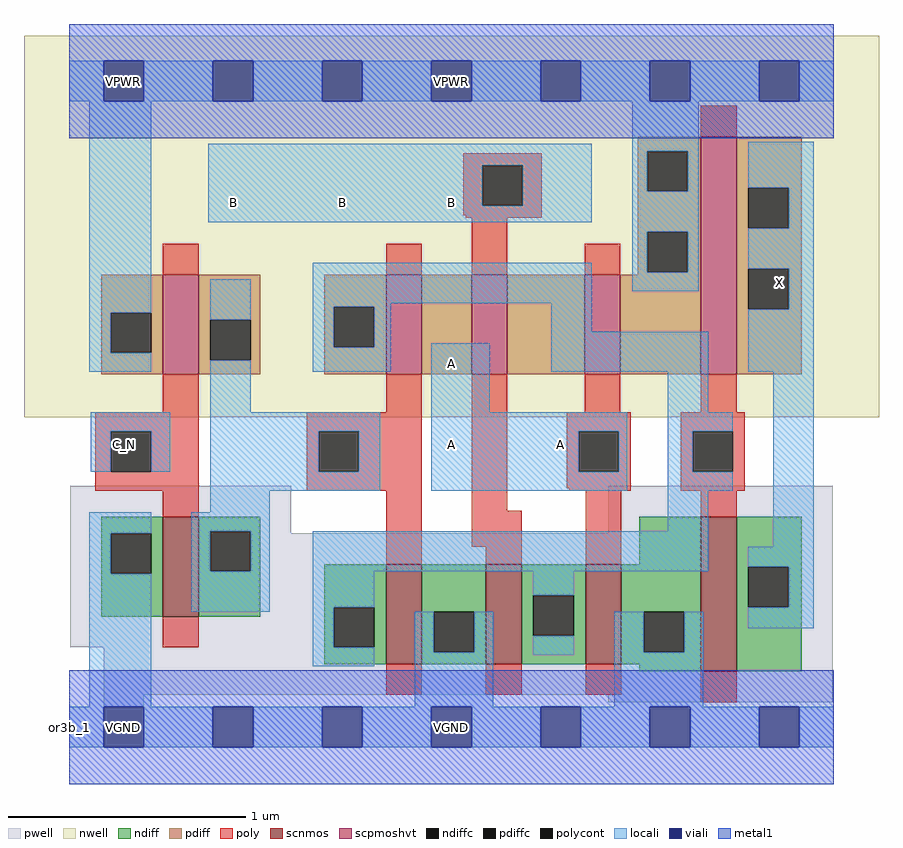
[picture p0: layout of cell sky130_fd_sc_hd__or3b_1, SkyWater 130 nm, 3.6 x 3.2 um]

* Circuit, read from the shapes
.subckt sky130_fd_sc_hd__or3b_1 A B C_N VGND VNB VPB VPWR X
XM1 n1 C_N VGND VNB sky130_fd_pr__nfet_01v8 w=0.42 l=0.15
XM2 VGND n1 n2 VNB sky130_fd_pr__nfet_01v8 w=0.42 l=0.15
XM3 n2 B VGND VNB sky130_fd_pr__nfet_01v8 w=0.42 l=0.15
XM4 VGND A n2 VNB sky130_fd_pr__nfet_01v8 w=0.42 l=0.15
XM5 X n2 VGND VNB sky130_fd_pr__nfet_01v8 w=0.65 l=0.15
XM6 n1 C_N VPWR VPB sky130_fd_pr__pfet_01v8_hvt w=0.42 l=0.15
XM7 n3 n1 n2 VPB sky130_fd_pr__pfet_01v8_hvt w=0.42 l=0.15
XM8 n4 B n3 VPB sky130_fd_pr__pfet_01v8_hvt w=0.42 l=0.15
XM9 VPWR A n4 VPB sky130_fd_pr__pfet_01v8_hvt w=0.42 l=0.15
XM10 X n2 VPWR VPB sky130_fd_pr__pfet_01v8_hvt w=1 l=0.15
.ends

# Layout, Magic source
magic
tech sky130A
magscale 1 2
<< nwell >>
rect -38 261 682 582
<< pwell >>
rect 1 163 187 203
rect 454 163 643 203
rect 1 67 643 163
rect 29 27 643 67
rect 29 -17 63 27
rect 454 21 643 27
<< scnmos >>
rect 79 93 109 177
rect 267 53 297 137
rect 351 53 381 137
rect 435 53 465 137
rect 532 47 562 177
<< scpmoshvt >>
rect 79 297 109 381
rect 267 297 297 381
rect 339 297 369 381
rect 434 297 464 381
rect 532 297 562 497
<< ndiff >>
rect 27 163 79 177
rect 27 129 35 163
rect 69 129 79 163
rect 27 93 79 129
rect 109 165 161 177
rect 109 131 119 165
rect 153 131 161 165
rect 480 137 532 177
rect 109 93 161 131
rect 215 101 267 137
rect 215 67 223 101
rect 257 67 267 101
rect 215 53 267 67
rect 297 97 351 137
rect 297 63 307 97
rect 341 63 351 97
rect 297 53 351 63
rect 381 111 435 137
rect 381 77 391 111
rect 425 77 435 111
rect 381 53 435 77
rect 465 97 532 137
rect 465 63 484 97
rect 518 63 532 97
rect 465 53 532 63
rect 480 47 532 53
rect 562 135 617 177
rect 562 101 572 135
rect 606 101 617 135
rect 562 47 617 101
<< pdiff >>
rect 479 485 532 497
rect 479 451 487 485
rect 521 451 532 485
rect 479 417 532 451
rect 479 383 487 417
rect 521 383 532 417
rect 479 381 532 383
rect 27 349 79 381
rect 27 315 35 349
rect 69 315 79 349
rect 27 297 79 315
rect 109 343 161 381
rect 109 309 119 343
rect 153 309 161 343
rect 109 297 161 309
rect 215 354 267 381
rect 215 320 223 354
rect 257 320 267 354
rect 215 297 267 320
rect 297 297 339 381
rect 369 297 434 381
rect 464 297 532 381
rect 562 454 617 497
rect 562 420 572 454
rect 606 420 617 454
rect 562 386 617 420
rect 562 352 572 386
rect 606 352 617 386
rect 562 297 617 352
<< ndiffc >>
rect 35 129 69 163
rect 119 131 153 165
rect 223 67 257 101
rect 307 63 341 97
rect 391 77 425 111
rect 484 63 518 97
rect 572 101 606 135
<< pdiffc >>
rect 487 451 521 485
rect 487 383 521 417
rect 35 315 69 349
rect 119 309 153 343
rect 223 320 257 354
rect 572 420 606 454
rect 572 352 606 386
<< poly >>
rect 532 497 562 523
rect 332 473 398 483
rect 332 439 348 473
rect 382 439 398 473
rect 332 431 398 439
rect 334 429 398 431
rect 79 381 109 407
rect 267 381 297 407
rect 339 381 369 429
rect 434 381 464 407
rect 79 265 109 297
rect 267 265 297 297
rect 22 249 109 265
rect 22 215 35 249
rect 69 215 109 249
rect 22 199 109 215
rect 200 249 297 265
rect 200 215 210 249
rect 244 215 297 249
rect 200 199 297 215
rect 79 177 109 199
rect 267 137 297 199
rect 339 182 369 297
rect 434 265 464 297
rect 532 265 562 297
rect 419 249 473 265
rect 419 215 429 249
rect 463 215 473 249
rect 419 201 473 215
rect 421 199 473 201
rect 515 249 569 265
rect 515 215 525 249
rect 559 215 569 249
rect 515 199 569 215
rect 339 152 381 182
rect 351 137 381 152
rect 435 137 465 199
rect 532 177 562 199
rect 79 67 109 93
rect 267 27 297 53
rect 351 27 381 53
rect 435 27 465 53
rect 532 21 562 47
<< polycont >>
rect 348 439 382 473
rect 35 215 69 249
rect 210 215 244 249
rect 429 215 463 249
rect 525 215 559 249
<< locali >>
rect 0 527 29 561
rect 63 527 121 561
rect 155 527 213 561
rect 247 527 305 561
rect 339 527 397 561
rect 431 527 489 561
rect 523 527 581 561
rect 615 527 644 561
rect 17 349 69 527
rect 117 473 440 491
rect 117 439 348 473
rect 382 439 440 473
rect 117 425 440 439
rect 474 485 530 527
rect 474 451 487 485
rect 521 451 530 485
rect 474 417 530 451
rect 17 315 35 349
rect 17 299 69 315
rect 119 343 153 377
rect 119 265 153 309
rect 205 357 440 391
rect 474 383 487 417
rect 521 383 530 417
rect 474 367 530 383
rect 572 454 627 493
rect 606 420 627 454
rect 572 386 627 420
rect 205 354 271 357
rect 205 320 223 354
rect 257 320 271 354
rect 406 333 440 357
rect 606 352 627 386
rect 205 299 271 320
rect 305 265 354 323
rect 406 299 538 333
rect 572 299 627 352
rect 504 265 538 299
rect 18 249 85 265
rect 18 215 35 249
rect 69 215 85 249
rect 119 249 262 265
rect 119 215 210 249
rect 244 215 262 249
rect 119 199 262 215
rect 305 249 470 265
rect 305 215 429 249
rect 463 215 470 249
rect 305 199 470 215
rect 504 249 559 265
rect 504 215 525 249
rect 504 199 559 215
rect 119 181 169 199
rect 17 163 69 181
rect 17 129 35 163
rect 17 17 69 129
rect 103 165 169 181
rect 504 165 538 199
rect 103 131 119 165
rect 153 131 169 165
rect 103 97 169 131
rect 205 131 538 165
rect 593 152 627 299
rect 572 135 627 152
rect 205 101 257 131
rect 205 67 223 101
rect 391 111 425 131
rect 205 51 257 67
rect 291 63 307 97
rect 341 63 357 97
rect 291 17 357 63
rect 606 101 627 135
rect 391 61 425 77
rect 459 63 484 97
rect 518 63 534 97
rect 572 83 627 101
rect 459 17 534 63
rect 0 -17 29 17
rect 63 -17 121 17
rect 155 -17 213 17
rect 247 -17 305 17
rect 339 -17 397 17
rect 431 -17 489 17
rect 523 -17 581 17
rect 615 -17 644 17
<< viali >>
rect 29 527 63 561
rect 121 527 155 561
rect 213 527 247 561
rect 305 527 339 561
rect 397 527 431 561
rect 489 527 523 561
rect 581 527 615 561
rect 29 -17 63 17
rect 121 -17 155 17
rect 213 -17 247 17
rect 305 -17 339 17
rect 397 -17 431 17
rect 489 -17 523 17
rect 581 -17 615 17
<< metal1 >>
rect 0 561 644 592
rect 0 527 29 561
rect 63 527 121 561
rect 155 527 213 561
rect 247 527 305 561
rect 339 527 397 561
rect 431 527 489 561
rect 523 527 581 561
rect 615 527 644 561
rect 0 496 644 527
rect 0 17 644 48
rect 0 -17 29 17
rect 63 -17 121 17
rect 155 -17 213 17
rect 247 -17 305 17
rect 339 -17 397 17
rect 431 -17 489 17
rect 523 -17 581 17
rect 615 -17 644 17
rect 0 -48 644 -17
<< labels >>
flabel locali s 305 289 339 323 0 FreeSans 400 0 0 0 A
port 1 nsew signal input
flabel locali s 397 221 431 255 0 FreeSans 400 0 0 0 A
port 1 nsew signal input
flabel locali s 30 221 64 255 0 FreeSans 400 0 0 0 C_N
port 3 nsew signal input
flabel locali s 581 357 615 391 0 FreeSans 200 0 0 0 X
port 8 nsew signal output
flabel locali s 305 221 339 255 0 FreeSans 400 0 0 0 A
port 1 nsew signal input
flabel locali s 213 425 247 459 0 FreeSans 400 0 0 0 B
port 2 nsew signal input
flabel locali s 121 425 155 459 0 FreeSans 400 0 0 0 B
port 2 nsew signal input
flabel locali s 305 425 339 459 0 FreeSans 400 0 0 0 B
port 2 nsew signal input
flabel metal1 s 29 -17 63 17 0 FreeSans 200 0 0 0 VGND
port 4 nsew ground bidirectional abutment
flabel metal1 s 29 527 63 561 0 FreeSans 200 0 0 0 VPWR
port 7 nsew power bidirectional abutment
flabel nwell s 29 527 63 561 0 FreeSans 200 0 0 0 VPB
port 6 nsew power bidirectional
flabel pwell s 29 -17 63 17 0 FreeSans 200 0 0 0 VNB
port 5 nsew ground bidirectional
rlabel comment s 0 0 0 0 4 or3b_1
rlabel metal1 s 0 -48 644 48 1 VGND
port 4 nsew ground bidirectional abutment
rlabel metal1 s 0 496 644 592 1 VPWR
port 7 nsew power bidirectional abutment
<< properties >>
string FIXED_BBOX 0 0 644 544
string GDS_END 1035886
string GDS_FILE $PDKPATH/libs.ref/sky130_fd_sc_hd/gds/sky130_fd_sc_hd.gds
string GDS_START 1029680
string LEFclass CORE
string LEFsite unithd
string LEFsymmetry X Y R90
string path 0.000 0.000 3.220 0.000 
<< end >>
